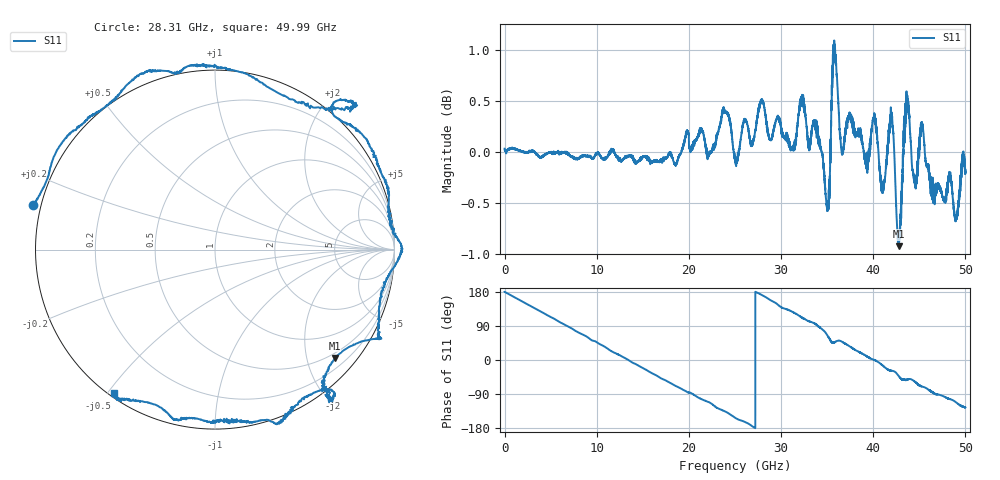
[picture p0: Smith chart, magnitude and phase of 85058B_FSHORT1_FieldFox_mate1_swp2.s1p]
!Created with skrf (http://scikit-rf.org).
# Hz S RI R 50.0
!freq ReS11 ImS11
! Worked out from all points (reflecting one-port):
!   10000 points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, 5.3 MHz to 50 GHz, reference 50 ohm
!   lowest |S11| = -0.9 dB at 42.76 GHz (marker M1), VSWR 18.86, Z = 20.1 - j127 ohm
!   phase of S11 starts at 180 deg and turns -665 deg over the sweep
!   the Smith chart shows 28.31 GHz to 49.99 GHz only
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5299970  -1.004 0.00123
2.850283e9  -0.7887 0.6161
6.255262e9  -0.1148 0.9935
8.895247e9  0.4672 0.8787
1.139023e10  0.8964 0.4438
1.250522e10  0.9676 0.2124
1.531521e10  0.8993 -0.4247
1.875519e10  0.3271 -0.9344
2.151017e10  -0.2627 -0.988
2.385516e10  -0.739 -0.742
2.500515e10  -0.876 -0.46
2.794513e10  -1.048 0.1607
2.995012e10  -0.7998 0.6552
3.125511e10  -0.6004 0.8042
3.228511e10  -0.3935 0.9906
3.37701e10  -0.0798 1.022
3.477009e10  0.2665 0.9263
3.562509e10  0.786 0.7932
3.647508e10  0.6509 0.7711
3.750507e10  0.8563 0.5983
4.016006e10  1.041 -0.00468
4.209005e10  0.9059 -0.4961
4.275504e10  0.6658 -0.6044
4.375504e10  0.6609 -0.8275
4.436003e10  0.5706 -0.7903
4.530503e10  0.3517 -0.9677
4.705002e10  -0.0222 -0.9624
5e10  -0.5651 -0.7975
